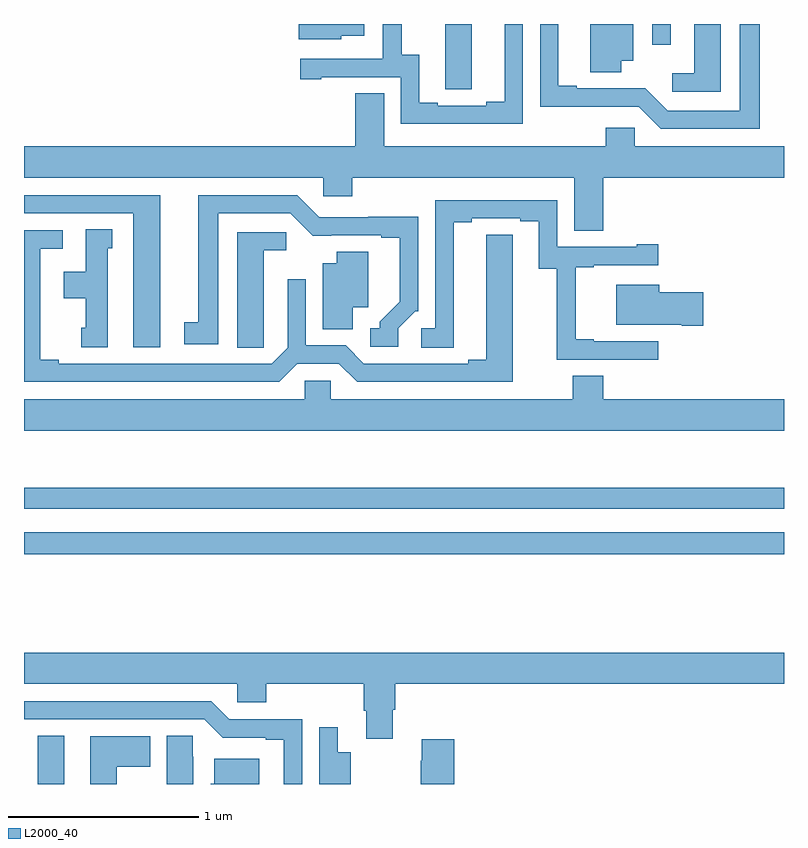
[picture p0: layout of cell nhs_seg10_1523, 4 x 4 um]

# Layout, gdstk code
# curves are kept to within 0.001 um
import gdstk
lib = gdstk.Library(unit=1e-6, precision=1e-09)
def R(c, l, rs):  # rectangles x0, y0, x1, y1
    for r in rs: c.add(gdstk.rectangle(r[:2], r[2:], *l))
def P(c, l, *ps):  # polygons
    for p in ps: c.add(gdstk.Polygon(p, *l))
L2000_40 = (2000, 40)

nhs_seg10_1523 = lib.new_cell('nhs_seg10_1523')
R(nhs_seg10_1523, L2000_40, [(191.072,1254.5,191.212,1254.755), (191,1255.708,195,1255.824), (191,1255.95,195,1256.059), (194.307,1258.392,194.403,1258.5)])
P(nhs_seg10_1523, L2000_40, [(192.669,1258.439),(192.79,1258.439),(192.79,1258.5),(192.446,1258.5),(192.446,1258.421),(192.669,1258.421)],
  [(194.143,1258.307),(194.206,1258.307),(194.206,1258.5),(193.979,1258.5),(193.979,1258.246),(194.143,1258.246)],
  [(194.668,1258.5),(194.528,1258.5),(194.528,1258.24),(194.412,1258.24),(194.412,1258.143),(194.668,1258.143)],
  [(193.357,1258.5),(193.217,1258.5),(193.217,1258.264),(193.218,1258.264),(193.218,1258.156),(193.357,1258.156)],
  [(193.626,1258.5),(193.529,1258.5),(193.529,1258.091),(193.433,1258.091),(193.433,1258.071),(193.177,1258.071),(193.177,1258.086),(193.081,1258.086),(193.081,1258.337),(192.987,1258.337),(192.987,1258.5),(192.888,1258.5),(192.888,1258.317),(192.453,1258.317),(192.453,1258.209),(192.565,1258.209),(192.565,1258.221),(192.984,1258.221),(192.984,1257.975),(193.626,1257.975)],
  [(194.872,1258.5),(194.768,1258.5),(194.768,1258.044),(194.388,1258.044),(194.27,1258.162),(193.909,1258.161),(193.909,1258.174),(193.813,1258.174),(193.813,1258.5),(193.716,1258.5),(193.716,1258.064),(194.235,1258.065),(194.352,1257.948),(194.872,1257.948)],
  [(194.048,1257.692),(195,1257.692),(195,1257.856),(194.214,1257.856),(194.214,1257.954),(194.063,1257.954),(194.063,1257.856),(192.895,1257.856),(192.895,1258.136),(192.743,1258.136),(192.743,1257.856),(191,1257.856),(191,1257.692),(192.576,1257.692),(192.576,1257.594),(192.728,1257.594),(192.728,1257.692),(193.895,1257.692),(193.895,1257.412),(194.048,1257.412)],
  [(192.969,1256.898),(193.059,1256.988),(193.074,1256.988),(193.074,1257.485),(192.811,1257.485),(192.811,1257.483),(192.555,1257.483),(192.438,1257.6),(191.918,1257.6),(191.918,1256.93),(191.844,1256.93),(191.844,1256.814),(192.022,1256.814),(192.022,1257.504),(192.402,1257.504),(192.52,1257.386),(192.881,1257.387),(192.881,1257.375),(192.977,1257.375),(192.977,1257.038),(192.872,1256.933),(192.872,1256.898),(192.822,1256.898),(192.822,1256.802),(192.969,1256.802)],
  [(191.716,1257.6),(191,1257.6),(191,1257.504),(191.576,1257.504),(191.576,1256.799),(191.716,1256.799)],
  [(194.338,1256.829),(193.999,1256.829),(193.999,1256.842),(193.904,1256.842),(193.904,1257.219),(193.999,1257.219),(193.999,1257.231),(194.338,1257.231),(194.338,1257.34),(194.225,1257.34),(194.225,1257.327),(193.806,1257.327),(193.806,1257.573),(193.164,1257.573),(193.164,1256.898),(193.092,1256.898),(193.092,1256.797),(193.261,1256.797),(193.261,1257.457),(193.357,1257.457),(193.357,1257.477),(193.613,1257.477),(193.613,1257.462),(193.709,1257.462),(193.709,1257.211),(193.804,1257.211),(193.804,1256.733),(194.338,1256.733)],
  [(191.44,1257.321),(191.464,1257.321),(191.464,1257.419),(191.324,1257.419),(191.324,1257.196),(191.21,1257.196),(191.21,1257.056),(191.324,1257.056),(191.324,1256.901),(191.3,1256.901),(191.3,1256.799),(191.44,1256.799)],
  [(192.439,1256.712),(192.657,1256.712),(192.753,1256.616),(193.573,1256.616),(193.572,1257.392),(193.433,1257.392),(193.433,1256.732),(193.337,1256.732),(193.337,1256.712),(192.789,1256.712),(192.693,1256.808),(192.483,1256.808),(192.483,1257.157),(192.387,1257.157),(192.387,1256.796),(192.303,1256.712),(191.182,1256.712),(191.182,1256.732),(191.086,1256.732),(191.086,1257.318),(191.203,1257.318),(191.203,1257.414),(191,1257.414),(191,1256.616),(192.343,1256.616)],
  [(192.261,1256.905),(192.262,1256.905),(192.262,1257.308),(192.379,1257.308),(192.379,1257.405),(192.122,1257.405),(192.122,1256.797),(192.261,1256.797)],
  [(192.73,1257.008),(192.811,1257.008),(192.811,1257.302),(192.647,1257.302),(192.647,1257.241),(192.572,1257.241),(192.572,1256.893),(192.73,1256.893)],
  [(194.575,1257.089),(194.344,1257.089),(194.344,1257.127),(194.117,1257.127),(194.117,1256.918),(194.462,1256.918),(194.462,1256.911),(194.575,1256.911)],
  [(195,1256.524),(194.048,1256.524),(194.048,1256.648),(193.888,1256.648),(193.888,1256.524),(192.615,1256.524),(192.615,1256.622),(192.477,1256.622),(192.477,1256.524),(191,1256.524),(191,1256.36),(195,1256.36)],
  [(192.94,1254.891),(192.953,1254.891),(192.953,1255.028),(195,1255.028),(195,1255.192),(191,1255.192),(191,1255.028),(192.123,1255.028),(192.123,1254.93),(192.275,1254.93),(192.275,1255.028),(192.788,1255.028),(192.788,1254.886),(192.8,1254.886),(192.8,1254.738),(192.94,1254.738)],
  [(192.465,1254.84),(192.081,1254.84),(191.985,1254.936),(191,1254.936),(191,1254.84),(191.949,1254.84),(192.045,1254.744),(192.272,1254.744),(192.272,1254.732),(192.368,1254.732),(192.368,1254.5),(192.465,1254.5)],
  [(192.72,1254.667),(192.652,1254.667),(192.652,1254.799),(192.554,1254.799),(192.554,1254.563),(192.553,1254.563),(192.553,1254.5),(192.72,1254.5)],
  [(191.89,1254.644),(191.889,1254.644),(191.889,1254.755),(191.75,1254.755),(191.75,1254.5),(191.89,1254.5)],
  [(191.488,1254.592),(191.665,1254.592),(191.665,1254.751),(191.348,1254.751),(191.348,1254.5),(191.488,1254.5)],
  [(193.265,1254.736),(193.094,1254.736),(193.094,1254.623),(193.087,1254.623),(193.087,1254.5),(193.265,1254.5)],
  [(192.238,1254.634),(192.002,1254.634),(192.002,1254.501),(191.984,1254.501),(191.984,1254.5),(192.238,1254.5)])

lib.write_gds('nhs_seg10_1523.gds')
